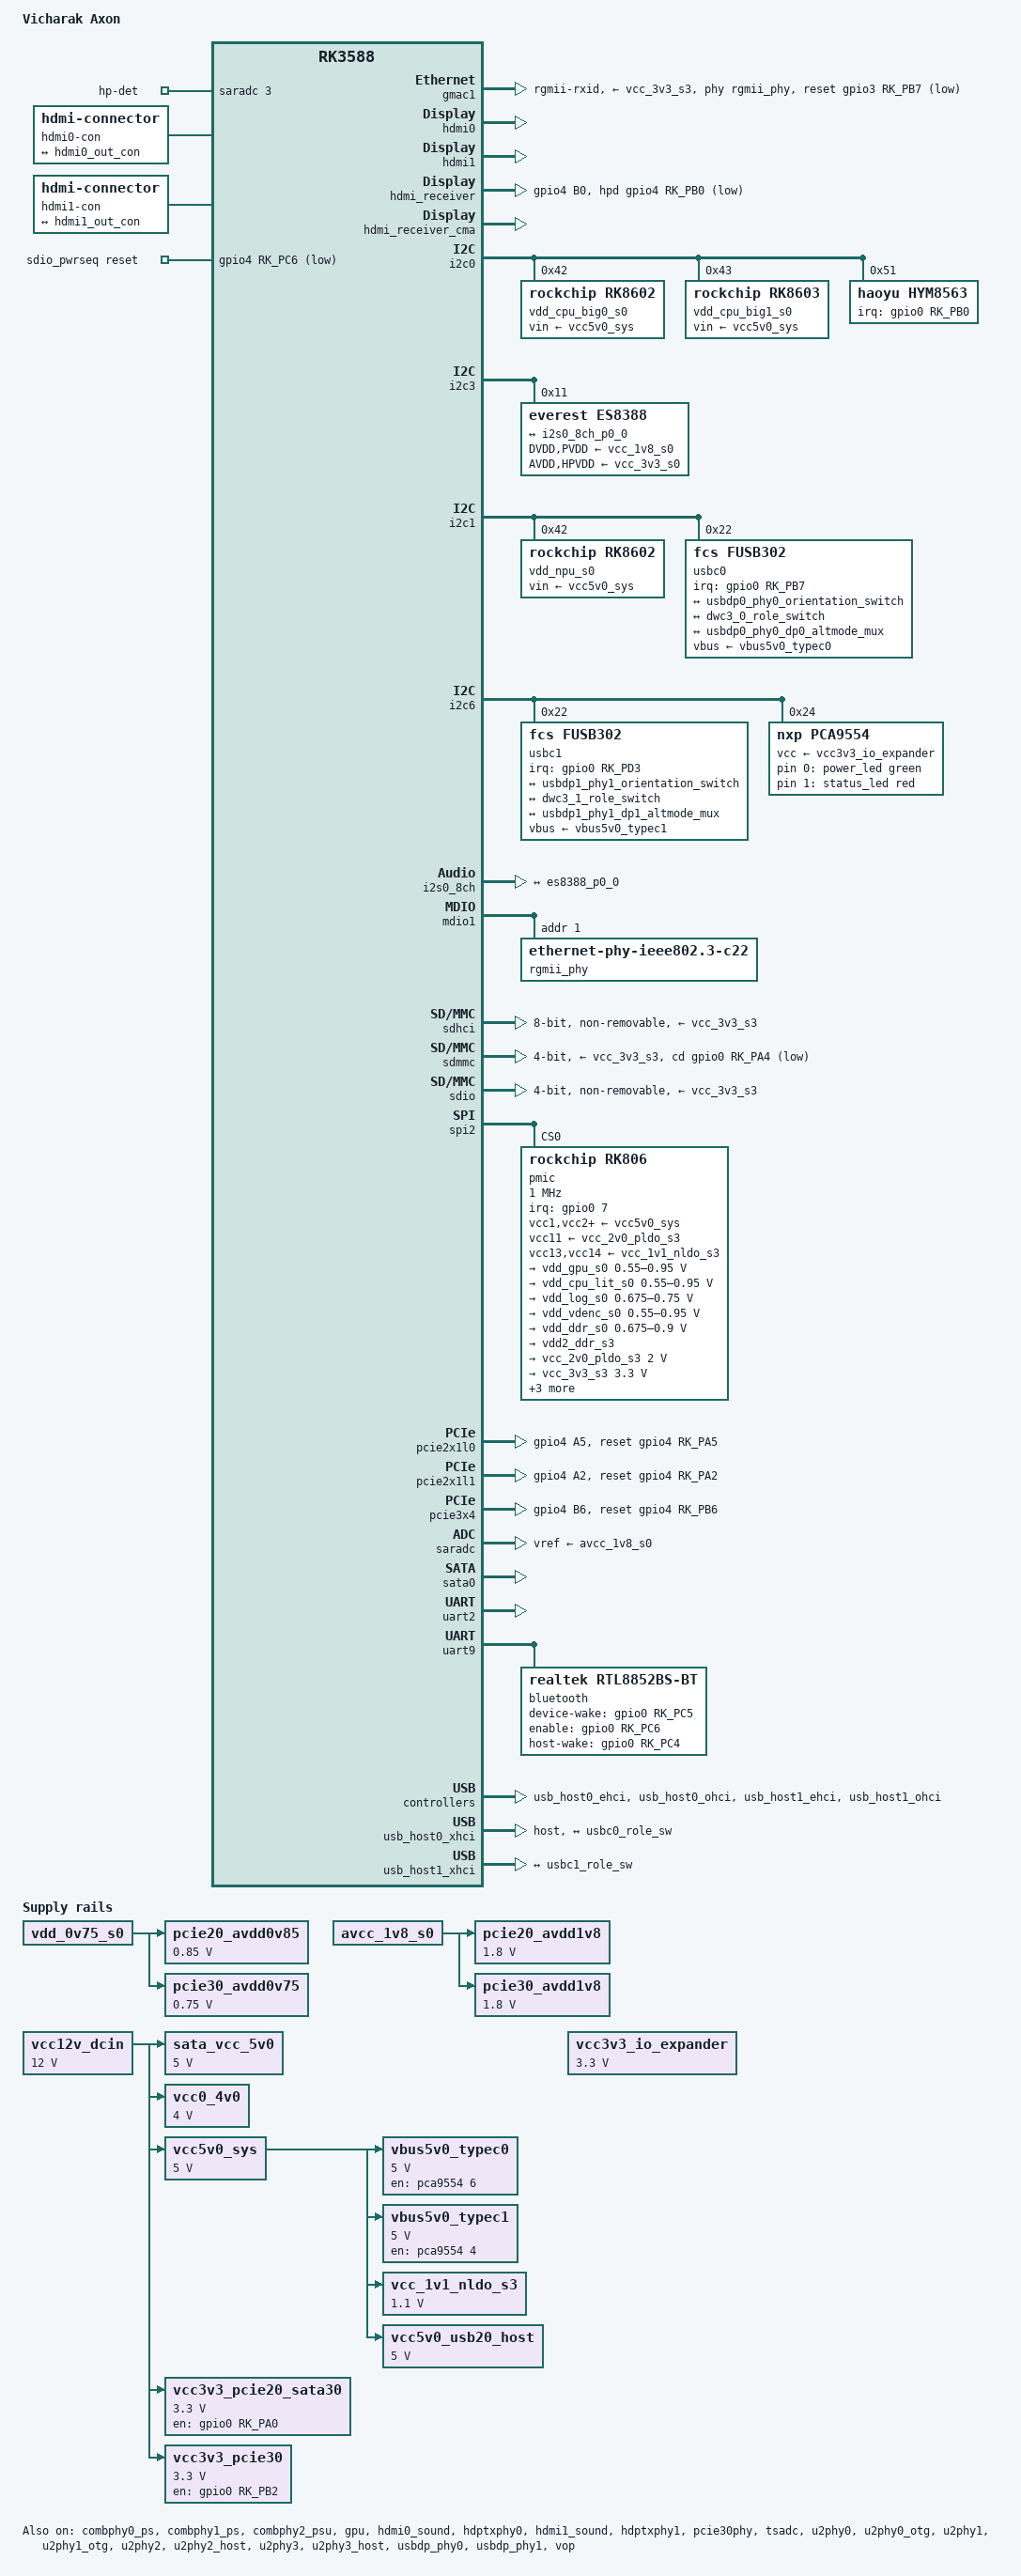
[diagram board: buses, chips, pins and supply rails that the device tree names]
// SPDX-License-Identifier: (GPL-2.0+ OR MIT)

/dts-v1/;

#include <dt-bindings/gpio/gpio.h>
#include <dt-bindings/leds/common.h>
#include <dt-bindings/soc/rockchip,vop2.h>
#include <dt-bindings/pinctrl/rockchip.h>
#include <dt-bindings/usb/pd.h>
#include <dt-bindings/input/linux-event-codes.h>
#include "rk3588.dtsi"

/ {
    model = "Vicharak Axon";
    compatible = "vicharak,axon", "rockchip,rk3588";

	aliases {
		mmc0 = &sdmmc;
		mmc1 = &sdhci;
		mmc2 = &sdio;
        serial2 = &uart2;
	};

	chosen {
		stdout-path = "serial2:1500000n8";
	};

    analog-sound {
        compatible = "audio-graph-card";
        label = "rk3588-es8388";

        widgets =
            "Microphone", "Main Mic",
            "Microphone", "Headset Mic",
            "Headphone", "Headphones",
            "Speaker", "Speaker";

        routing =
            "Headphones", "LOUT1",
            "Headphones", "ROUT1",
            "Speaker", "LOUT2",
            "Speaker", "ROUT2",
            "LINPUT1", "Main Mic",
            "LINPUT2", "Main Mic",
            "RINPUT1", "Headset Mic",
            "RINPUT2", "Headset Mic";

        /* HP jack detect via SARADC ch3, not a GPIO */
        io-channels = <&saradc 3>;
        io-channel-names = "hp-det";

        dais = <&i2s0_8ch_p0>;

        pinctrl-names = "default";
        pinctrl-0 = <&hp_detect>;
    };

	hdmi0-con {
		compatible = "hdmi-connector";
		type = "a";

		port {
			hdmi0_con_in: endpoint {
				remote-endpoint = <&hdmi0_out_con>;
			};
		};
	};

	hdmi1-con {
		compatible = "hdmi-connector";
		type = "a";

		port {
			hdmi1_con_in: endpoint {
				remote-endpoint = <&hdmi1_out_con>;
			};
		};
	};

	leds {
		compatible = "gpio-leds";
        status = "okay";

		power_led: power-led {
			color = <LED_COLOR_ID_GREEN>;
			function = LED_FUNCTION_STATUS;
            gpios = <&pca9554 0 GPIO_ACTIVE_HIGH>;
			linux,default-trigger = "heartbeat";
		};

		status_led: status-led {
			color = <LED_COLOR_ID_RED>;
			function = LED_FUNCTION_STATUS;
            gpios = <&pca9554 1 GPIO_ACTIVE_HIGH>;
			linux,default-trigger = "none";
		};
	};

    pcie20_avdd0v85: pcie20-avdd0v85-regulator {
		compatible = "regulator-fixed";
		regulator-name = "pcie20_avdd0v85";
		regulator-boot-on;
		regulator-always-on;
		regulator-min-microvolt = <850000>;
		regulator-max-microvolt = <850000>;
		vin-supply = <&vdd_0v75_s0>;
	};

	pcie20_avdd1v8: pcie20-avdd1v8-regulator {
		compatible = "regulator-fixed";
		regulator-name = "pcie20_avdd1v8";
		regulator-boot-on;
		regulator-always-on;
		regulator-min-microvolt = <1800000>;
		regulator-max-microvolt = <1800000>;
		vin-supply = <&avcc_1v8_s0>;
	};

	pcie30_avdd0v75: pcie30-avdd0v75-regulator {
		compatible = "regulator-fixed";
		regulator-name = "pcie30_avdd0v75";
		regulator-boot-on;
		regulator-always-on;
		regulator-min-microvolt = <750000>;
		regulator-max-microvolt = <750000>;
		vin-supply = <&vdd_0v75_s0>;
	};

	pcie30_avdd1v8: pcie30-avdd1v8-regulator {
		compatible = "regulator-fixed";
		regulator-name = "pcie30_avdd1v8";
		regulator-boot-on;
		regulator-always-on;
		regulator-min-microvolt = <1800000>;
		regulator-max-microvolt = <1800000>;
		vin-supply = <&avcc_1v8_s0>;
	};

	sata_vcc_5v0: sata-vcc-5v0 {
		compatible = "regulator-fixed";
		regulator-name = "sata_vcc_5v0";
		startup-delay-us = <5000>;
		regulator-boot-on;
		regulator-always-on;
		enable-active-high;
		regulator-min-microvolt = <5000000>;
		regulator-max-microvolt = <5000000>;
		vin-supply = <&vcc12v_dcin>;
	};

	sdio_pwrseq: sdio-pwrseq {
		compatible = "mmc-pwrseq-simple";
		clocks = <&hym8563>;
		clock-names = "ext_clock";
		pinctrl-names = "default";
		pinctrl-0 = <&sdio_reset_wifi>;
		reset-gpios = <&gpio4 RK_PC6 GPIO_ACTIVE_LOW>;
		status = "okay";
	};

    vbus5v0_typec0: vbus5v0-typec0-regulator {
		compatible = "regulator-fixed";
		regulator-name = "vbus5v0_typec0";
		regulator-boot-on;
		regulator-always-on;
		enable-active-high;
		gpio = <&pca9554 6 GPIO_ACTIVE_HIGH>;
        regulator-min-microvolt = <5000000>;
		regulator-max-microvolt = <5000000>;
		vin-supply = <&vcc5v0_sys>;
	};

    vbus5v0_typec1: vbus5v0-typec1-regulator {
		compatible = "regulator-fixed";
		regulator-name = "vbus5v0_typec1";
		regulator-boot-on;
		regulator-always-on;
		enable-active-high;
		gpio = <&pca9554 4 GPIO_ACTIVE_HIGH>; 
        regulator-min-microvolt = <5000000>;
		regulator-max-microvolt = <5000000>;
		vin-supply = <&vcc5v0_sys>;
	};

	vcc12v_dcin: vcc12v-dcin-regulator {
		compatible = "regulator-fixed";
		regulator-name = "vcc12v_dcin";
		regulator-always-on;
		regulator-boot-on;
		regulator-min-microvolt = <12000000>;
		regulator-max-microvolt = <12000000>;
	};

	vcc0_4v0: vcc4v0_sys: vcc0-4v0-regulator {
		compatible = "regulator-fixed";
		regulator-name = "vcc0_4v0";
		regulator-always-on;
		regulator-boot-on;
		regulator-min-microvolt = <4000000>;
		regulator-max-microvolt = <4000000>;
		vin-supply = <&vcc12v_dcin>;
	};

	vcc5v0_sys: vcc1-5v0-regulator {
		compatible = "regulator-fixed";
		regulator-name = "vcc5v0_sys";
		regulator-always-on;
		regulator-boot-on;
		regulator-min-microvolt = <5000000>;
		regulator-max-microvolt = <5000000>;
		vin-supply = <&vcc12v_dcin>;
	};

	vcc_1v1_nldo_s3: vcc-1v1-nldo-s3-regulator {
		compatible = "regulator-fixed";
		regulator-name = "vcc_1v1_nldo_s3";
		regulator-always-on;
		regulator-boot-on;
		regulator-min-microvolt = <1100000>;
		regulator-max-microvolt = <1100000>;
		vin-supply = <&vcc5v0_sys>;
	};

	vcc3v3_io_expander: vcc3v3-io-expander {
		compatible = "regulator-fixed";
		regulator-name = "vcc3v3_io_expander";
		regulator-boot-on;
		regulator-always-on;
		enable-active-high;
		regulator-min-microvolt = <3300000>;
		regulator-max-microvolt = <3300000>;
	};

    vcc3v3_pcie20_sata30: vcc3v3-pcie20-sata30 {
		compatible = "regulator-fixed";
		regulator-name = "vcc3v3_pcie20_sata30";
		regulator-boot-on;
		regulator-always-on;
		enable-active-high;
		gpios = <&gpio0 RK_PA0 GPIO_ACTIVE_HIGH>;
		regulator-max-microvolt = <3300000>;
		regulator-min-microvolt = <3300000>;
		vin-supply = <&vcc12v_dcin>;
	};

	vcc3v3_pcie30: vcc3v3-pcie30 {
		compatible = "regulator-fixed";
		regulator-name = "vcc3v3_pcie30";
		regulator-boot-on;
		regulator-always-on;
		enable-active-high;
		gpios = <&gpio0 RK_PB2 GPIO_ACTIVE_HIGH>;
		regulator-min-microvolt = <3300000>;
		regulator-max-microvolt = <3300000>;
		vin-supply = <&vcc12v_dcin>;
	};

    vcc5v0_usb20_host: vcc5v0-usb20-host-regulator {
		compatible = "regulator-fixed";
		regulator-name = "vcc5v0_usb20_host";
		regulator-boot-on;
		regulator-always-on;
		enable-active-high;
		regulator-min-microvolt = <5000000>;
		regulator-max-microvolt = <5000000>;
		vin-supply = <&vcc5v0_sys>;
	};

};


&combphy0_ps {
	status = "okay";
};

&combphy1_ps {
	status = "okay";
};

&combphy2_psu {
	status = "okay";
};

&cpu_b0 {
	cpu-supply = <&vdd_cpu_big0_s0>;
	mem-supply = <&vdd_cpu_big0_mem_s0>;
};

&cpu_b1 {
	cpu-supply = <&vdd_cpu_big0_s0>;
	mem-supply = <&vdd_cpu_big0_mem_s0>;
};

&cpu_b2 {
	cpu-supply = <&vdd_cpu_big1_s0>;
	mem-supply = <&vdd_cpu_big1_mem_s0>;
};

&cpu_b3 {
	cpu-supply = <&vdd_cpu_big1_s0>;
	mem-supply = <&vdd_cpu_big1_mem_s0>;
};

&cpu_l0 {
	cpu-supply = <&vdd_cpu_lit_s0>;
	mem-supply = <&vdd_cpu_lit_mem_s0>;
};

&cpu_l1 {
	cpu-supply = <&vdd_cpu_lit_s0>;
	mem-supply = <&vdd_cpu_lit_mem_s0>;
};

&cpu_l2 {
	cpu-supply = <&vdd_cpu_lit_s0>;
	mem-supply = <&vdd_cpu_lit_mem_s0>;
};

&cpu_l3 {
	cpu-supply = <&vdd_cpu_lit_s0>;
	mem-supply = <&vdd_cpu_lit_mem_s0>;
};

&gmac1 {
	clock_in_out = "output";
	phy-handle = <&rgmii_phy>;
	phy-mode = "rgmii-rxid";
	phy-supply = <&vcc_3v3_s3>;
	pinctrl-0 = <&gmac1_rgmii_bus
				&gmac1_rgmii_clk
				&gmac1_rx_bus2
				&gmac1_tx_bus2
				&gmac1_miim>;
	pinctrl-names = "default";
	snps,reset-active-low;
	snps,reset-delays-us = <0 20000 100000>;
	snps,reset-gpio = <&gpio3 RK_PB7 GPIO_ACTIVE_LOW>;
	rx_delay = <0x00>;
	tx_delay = <0x43>;
	status = "okay";
};

&gpu {
	mali-supply = <&vdd_gpu_s0>;
	status = "okay";
};

&hdmi0 {
    enable-gpios = <&gpio1 RK_PB0 GPIO_ACTIVE_HIGH>;
	status = "okay";
};

&hdmi0_in {
	hdmi0_in_vp0: endpoint {
		remote-endpoint = <&vp0_out_hdmi0>;
	};
};

&hdmi0_out {
	hdmi0_out_con: endpoint {
		remote-endpoint = <&hdmi0_con_in>;
	};
};

&hdmi0_sound {
	status = "okay";
};

&hdptxphy0 {
	status = "okay";
};

&hdmi1 {
    enable-gpios = <&gpio1 RK_PA7 GPIO_ACTIVE_HIGH>;
	status = "okay";
};

&hdmi1_in {
	hdmi1_in_vp1: endpoint {
		remote-endpoint = <&vp1_out_hdmi1>;
	};
};

&hdmi1_out {
	hdmi1_out_con: endpoint {
		remote-endpoint = <&hdmi1_con_in>;
	};
};

&hdmi1_sound {
	status = "okay";
};

&hdptxphy1 {
	status = "okay";
};

&hdmi_receiver {
    pinctrl-0 = <&hdmim1_rx_cec &hdmim1_rx_hpdin &hdmim1_rx_scl &hdmim1_rx_sda &hdmirx_hpd>;
	pinctrl-names = "default";
	hpd-gpios = <&gpio4 RK_PB0 GPIO_ACTIVE_LOW>;
	status = "okay";
};

&hdmi_receiver_cma {
	status = "okay";
};

&i2c0 {
	pinctrl-0 = <&i2c0m2_xfer>;
	pinctrl-names = "default";
	status = "okay";

	vdd_cpu_big0_s0: vdd_cpu_big0_mem_s0: regulator@42 {
		compatible = "rockchip,rk8602";
		fcs,suspend-voltage-selector = <1>;
		reg = <0x42>;
		regulator-always-on;
		regulator-boot-on;
		regulator-compatible = "rk860x-reg";
		regulator-max-microvolt = <1050000>;
		regulator-min-microvolt = <550000>;
		regulator-name = "vdd_cpu_big0_s0";
		regulator-ramp-delay = <2300>;
		vin-supply = <&vcc5v0_sys>;

		regulator-state-mem {
			regulator-off-in-suspend;
		};
	};

	vdd_cpu_big1_s0: vdd_cpu_big1_mem_s0: regulator@43 {
		compatible = "rockchip,rk8603", "rockchip,rk8602";
		fcs,suspend-voltage-selector = <1>;
		reg = <0x43>;
		regulator-always-on;
		regulator-boot-on;
		regulator-compatible = "rk860x-reg";
		regulator-max-microvolt = <1050000>;
		regulator-min-microvolt = <550000>;
		regulator-name = "vdd_cpu_big1_s0";
		regulator-ramp-delay = <2300>;
		vin-supply = <&vcc5v0_sys>;

		regulator-state-mem {
			regulator-off-in-suspend;
		};
	};

	hym8563: rtc@51 {
		compatible = "haoyu,hym8563";
		reg = <0x51>;
		#clock-cells = <0>;
		clock-output-names = "hym8563";
		interrupt-parent = <&gpio0>;
		interrupts = <RK_PB0 IRQ_TYPE_LEVEL_LOW>;
		pinctrl-names = "default";
		pinctrl-0 = <&rtc_int>;
		wakeup-source;
		status = "okay";
	};
};

&i2c3 {
    pinctrl-names = "default";
    pinctrl-0 = <&i2c3m0_xfer>;   
    status = "okay";

    es8388: audio-codec@11 {
        compatible = "everest,es8388";
        reg = <0x11>;
        clocks = <&cru I2S0_8CH_MCLKOUT>;
        clock-names = "mclk";
        assigned-clocks = <&cru I2S0_8CH_MCLKOUT>;
        assigned-clock-rates = <12288000>;
        DVDD-supply = <&vcc_1v8_s0>;
		AVDD-supply = <&vcc_3v3_s0>;
		PVDD-supply = <&vcc_1v8_s0>;
		HPVDD-supply = <&vcc_3v3_s0>;
        #sound-dai-cells = <0>;

        port {
            es8388_p0_0: endpoint {
                remote-endpoint = <&i2s0_8ch_p0_0>;  /* i2s0_8ch_p0_0 is the ENDPOINT */
            };
        };
    };
};

&i2c1 {
   	pinctrl-names = "default";
	pinctrl-0 = <&i2c1m2_xfer>;
	status = "okay";

    vdd_npu_s0: regulator@42 {
		compatible = "rockchip,rk8602";
		reg = <0x42>;
		fcs,suspend-voltage-selector = <1>;
		regulator-name = "vdd_npu_s0";
		regulator-boot-on;
		regulator-enable-ramp-delay = <500>;
		regulator-min-microvolt = <550000>;
		regulator-max-microvolt = <950000>;
		regulator-ramp-delay = <2300>;
		vin-supply = <&vcc5v0_sys>;

		regulator-state-mem {
			regulator-off-in-suspend;
		 };
	};

    usbc0: usb-typec@22 {
        compatible = "fcs,fusb302";
        reg = <0x22>;
        interrupt-parent = <&gpio0>;
        interrupts = <RK_PB7 IRQ_TYPE_LEVEL_LOW>;
        pinctrl-names = "default";
        pinctrl-0 = <&usbc0_int>;
        vbus-supply = <&vbus5v0_typec0>;
        status = "okay";

        usb_con0: connector {
            compatible = "usb-c-connector";
            label = "USB-C0";
            data-role = "dual";
            power-role = "dual";
            try-power-role = "sink";
            op-sink-microwatt = <1000000>;
            sink-pdos =
                <PDO_FIXED(5000, 3000, PDO_FIXED_USB_COMM)>;
            source-pdos =
                <PDO_FIXED(5000, 3000, PDO_FIXED_USB_COMM)>;

			altmodes {
				displayport {
					svid = /bits/ 16 <0xff01>;
					vdo = <0xffffffff>;
				};
			};

            ports {
                #address-cells = <1>;
                #size-cells = <0>;

                port@0 {
                    reg = <0>;
                    usbc0_orien_sw: endpoint {
                        remote-endpoint = <&usbdp0_phy0_orientation_switch>;
                    };
                };

                port@1 {
                    reg = <1>;
                    usbc0_role_sw: endpoint {
                        remote-endpoint = <&dwc3_0_role_switch>;
                    };
                };

                port@2 {
                    reg = <2>;
                    dp0_altmode_mux: endpoint {
                        remote-endpoint = <&usbdp0_phy0_dp0_altmode_mux>;
                    };
                };
            };
        };
    };


};


&i2c6 {
    pinctrl-names = "default";
	pinctrl-0 = <&i2c6m0_xfer>;
    status = "okay";

    usbc1: fusb302@22 {
		compatible = "fcs,fusb302";
		reg = <0x22>;
		interrupt-parent = <&gpio0>;
		interrupts = <RK_PD3 IRQ_TYPE_LEVEL_LOW>;
		pinctrl-names = "default";
		pinctrl-0 = <&usbc1_int>;
		vbus-supply = <&vbus5v0_typec1>;
		status = "okay";

		usb_con1: connector {
			compatible = "usb-c-connector";
			label = "USB-C1";
			data-role = "dual";
			power-role = "dual";
			try-power-role = "sink";
			op-sink-microwatt = <1000000>;
			sink-pdos =
				<PDO_FIXED(5000, 1000, PDO_FIXED_USB_COMM)>;
			source-pdos =
				<PDO_FIXED(5000, 3000, PDO_FIXED_USB_COMM)>;

			altmodes {
				displayport {
					svid = /bits/ 16 <0xff01>;
					vdo = <0xffffffff>;
				};
			};

			ports {
				#address-cells = <1>;
				#size-cells = <0>;

				port@0 {
					reg = <0>;
					usbc1_orien_sw: endpoint {
						remote-endpoint = <&usbdp1_phy1_orientation_switch>;
					};
				};

				port@1 {
					reg = <1>;
					usbc1_role_sw: endpoint {
						remote-endpoint = <&dwc3_1_role_switch>;
					};
				};

				port@2 {
					reg = <2>;
					dp1_altmode_mux: endpoint {
						remote-endpoint = <&usbdp1_phy1_dp1_altmode_mux>;
					};
				};
			};
		};
	};

    pca9554: gpio@24 {
		compatible = "nxp,pca9554";
		#gpio-cells = <2>;
		gpio-controller;
		reg = <0x24>;
		vcc-supply = <&vcc3v3_io_expander>;
		status = "okay";
	};
};

&i2s0_8ch {
    pinctrl-names = "default";
    pinctrl-0 = <&i2s0_lrck
                 &i2s0_mclk
                 &i2s0_sclk
                 &i2s0_sdi0
                 &i2s0_sdo0>;
    status = "okay";

    i2s0_8ch_p0: port {
        i2s0_8ch_p0_0: endpoint {
            dai-format = "i2s";
            mclk-fs = <256>;
            remote-endpoint = <&es8388_p0_0>;
        };
    };
};

&mdio1 {
	rgmii_phy: phy@1 {
		compatible = "ethernet-phy-ieee802.3-c22";
		reg = <0x1>;
	};
};

&sdhci {
	bus-width = <8>;
	full-pwr-cycle-in-suspend;
	mmc-hs400-1_8v;
	mmc-hs400-enhanced-strobe;
	no-sd;
	no-sdio;
	non-removable;
	vmmc-supply = <&vcc_3v3_s3>;
	vqmmc-supply = <&vcc_1v8_s3>;
	status = "okay";
};

&sdmmc {
	bus-width = <4>;
	cap-mmc-highspeed;
	cap-sd-highspeed;
	cd-gpios = <&gpio0 RK_PA4 GPIO_ACTIVE_LOW>;
	disable-wp;
	max-frequency = <200000000>;
	no-mmc;
	no-sdio;
	sd-uhs-sdr104;
	vmmc-supply = <&vcc_3v3_s3>;
	vqmmc-supply = <&vccio_sd_s0>;
	status = "okay";
};

&sdio {
	max-frequency = <150000000>;
	no-sd;
	no-mmc;
	bus-width = <4>;
	disable-wp;
	cap-sd-highspeed;
	cap-sdio-irq;
	keep-power-in-suspend;
	mmc-pwrseq = <&sdio_pwrseq>;
	non-removable;
	pinctrl-names = "default";
	pinctrl-0 = <&sdiom0_pins>;
	vmmc-supply = <&vcc_3v3_s3>;
	vqmmc-supply = <&vcc_1v8_s3>;
	status = "okay";
};

&spi2 {
	assigned-clock-rates = <200000000>;
	assigned-clocks = <&cru CLK_SPI2>;
	num-cs = <1>;
	pinctrl-0 = <&spi2m2_cs0 &spi2m2_pins>;
	pinctrl-names = "default";
	status = "okay";
	#address-cells = <1>;
	#size-cells = <0>;

	pmic@0 {
		reg = <0>;
		compatible = "rockchip,rk806";
		#gpio-cells = <2>;
		gpio-controller;
		interrupt-parent = <&gpio0>;
		interrupts = <7 IRQ_TYPE_LEVEL_LOW>;
		pinctrl-names = "default", "pmic-power-off";
		pinctrl-0 = <&pmic_pins>, <&rk806_dvs1_null>,
					<&rk806_dvs2_null>, <&rk806_dvs3_null>;
		pinctrl-1 = <&rk806_dvs1_pwrdn>;
		spi-max-frequency = <1000000>;

		vcc1-supply = <&vcc5v0_sys>;
		vcc2-supply = <&vcc5v0_sys>;
		vcc3-supply = <&vcc5v0_sys>;
		vcc4-supply = <&vcc5v0_sys>;
		vcc5-supply = <&vcc5v0_sys>;
		vcc6-supply = <&vcc5v0_sys>;
		vcc7-supply = <&vcc5v0_sys>;
		vcc8-supply = <&vcc5v0_sys>;
		vcc9-supply = <&vcc5v0_sys>;
		vcc10-supply = <&vcc5v0_sys>;
		vcc11-supply = <&vcc_2v0_pldo_s3>;
		vcc12-supply = <&vcc5v0_sys>;
		vcc13-supply = <&vcc_1v1_nldo_s3>;
		vcc14-supply = <&vcc_1v1_nldo_s3>;
		vcca-supply = <&vcc5v0_sys>;

		rk806_dvs1_null: rk806_dvs1_null {
			pins = "gpio_pwrctrl2";
			function = "pin_fun0";
		};

		rk806_dvs1_slp: rk806_dvs1_slp {
			pins = "gpio_pwrctrl1";
			function = "pin_fun1";
		};

		rk806_dvs1_pwrdn: rk806_dvs1_pwrdn {
			pins = "gpio_pwrctrl1";
			function = "pin_fun2";
		};

		rk806_dvs1_rst: rk806_dvs1_rst {
			pins = "gpio_pwrctrl1";
			function = "pin_fun3";
		};

		rk806_dvs2_null: rk806_dvs2_null {
			pins = "gpio_pwrctrl2";
			function = "pin_fun0";
		};

		rk806_dvs2_slp: rk806_dvs2_slp {
			pins = "gpio_pwrctrl2";
			function = "pin_fun1";
		};

		rk806_dvs2_pwrdn: rk806_dvs2_pwrdn {
			pins = "gpio_pwrctrl2";
			function = "pin_fun2";
		};

		rk806_dvs2_rst: rk806_dvs2_rst {
			pins = "gpio_pwrctrl2";
			function = "pin_fun3";
		};

		rk806_dvs2_dvs: rk806_dvs2_dvs {
			pins = "gpio_pwrctrl2";
			function = "pin_fun4";
		};

		rk806_dvs2_gpio: rk806_dvs2_gpio {
			pins = "gpio_pwrctrl2";
			function = "pin_fun5";
		};

		rk806_dvs3_null: rk806_dvs3_null {
			pins = "gpio_pwrctrl3";
			function = "pin_fun0";
		};

		rk806_dvs3_slp: rk806_dvs3_slp {
			pins = "gpio_pwrctrl3";
			function = "pin_fun1";
		};

		rk806_dvs3_pwrdn: rk806_dvs3_pwrdn {
			pins = "gpio_pwrctrl3";
			function = "pin_fun2";
		};

		rk806_dvs3_rst: rk806_dvs3_rst {
			pins = "gpio_pwrctrl3";
			function = "pin_fun3";
		};

		rk806_dvs3_dvs: rk806_dvs3_dvs {
			pins = "gpio_pwrctrl3";
			function = "pin_fun4";
		};

		rk806_dvs3_gpio: rk806_dvs3_gpio {
			pins = "gpio_pwrctrl3";
			function = "pin_fun5";
		};

		regulators {
			vdd_gpu_s0: dcdc-reg1 {
				regulator-boot-on;
				regulator-min-microvolt = <550000>;
				regulator-max-microvolt = <950000>;
				regulator-ramp-delay = <12500>;
				regulator-name = "vdd_gpu_s0";
				regulator-enable-ramp-delay = <400>;

				regulator-state-mem {
					regulator-off-in-suspend;
				};
			};

			vdd_cpu_lit_s0: vdd_cpu_lit_mem_s0: dcdc-reg2 {
				regulator-always-on;
				regulator-boot-on;
				regulator-min-microvolt = <550000>;
				regulator-max-microvolt = <950000>;
				regulator-ramp-delay = <12500>;
				regulator-name = "vdd_cpu_lit_s0";

				regulator-state-mem {
					regulator-off-in-suspend;
				};
			};

			vdd_log_s0: dcdc-reg3 {
				regulator-always-on;
				regulator-boot-on;
				regulator-min-microvolt = <675000>;
				regulator-max-microvolt = <750000>;
				regulator-ramp-delay = <12500>;
				regulator-name = "vdd_log_s0";

				regulator-state-mem {
					regulator-off-in-suspend;
					regulator-suspend-microvolt = <750000>;
				};
			};

			vdd_vdenc_s0: dcdc-reg4 {
				regulator-always-on;
				regulator-boot-on;
				regulator-min-microvolt = <550000>;
				regulator-max-microvolt = <950000>;
				regulator-init-microvolt = <750000>;
				regulator-ramp-delay = <12500>;
				regulator-name = "vdd_vdenc_s0";

				regulator-state-mem {
					regulator-off-in-suspend;
				};
			};

			vdd_ddr_s0: dcdc-reg5 {
				regulator-always-on;
				regulator-boot-on;
				regulator-min-microvolt = <675000>;
				regulator-max-microvolt = <900000>;
				regulator-ramp-delay = <12500>;
				regulator-name = "vdd_ddr_s0";

				regulator-state-mem {
					regulator-off-in-suspend;
					regulator-suspend-microvolt = <850000>;
				};
			};

			vdd2_ddr_s3: dcdc-reg6 {
				regulator-always-on;
				regulator-boot-on;
				regulator-name = "vdd2_ddr_s3";

				regulator-state-mem {
					regulator-on-in-suspend;
				};
			};

			vcc_2v0_pldo_s3: dcdc-reg7 {
				regulator-always-on;
				regulator-boot-on;
				regulator-min-microvolt = <2000000>;
				regulator-max-microvolt = <2000000>;
				regulator-name = "vdd_2v0_pldo_s3";

				regulator-state-mem {
					regulator-on-in-suspend;
					regulator-suspend-microvolt = <2000000>;
				};
			};

			vcc_3v3_s3: dcdc-reg8 {
				regulator-always-on;
				regulator-boot-on;
				regulator-min-microvolt = <3300000>;
				regulator-max-microvolt = <3300000>;
				regulator-name = "vcc_3v3_s3";

				regulator-state-mem {
					regulator-on-in-suspend;
					regulator-suspend-microvolt = <3300000>;
				};
			};

			vddq_ddr_s0: dcdc-reg9 {
				regulator-always-on;
				regulator-boot-on;
				regulator-name = "vddq_ddr_s0";

				regulator-state-mem {
					regulator-off-in-suspend;
				};
			};

			vcc_1v8_s3: dcdc-reg10 {
				regulator-always-on;
				regulator-boot-on;
				regulator-min-microvolt = <1800000>;
				regulator-max-microvolt = <1800000>;
				regulator-name = "vcc_1v8_s3";

				regulator-state-mem {
					regulator-on-in-suspend;
					regulator-suspend-microvolt = <1800000>;
				};
			};

			avcc_1v8_s0: pldo-reg1 {
				regulator-always-on;
				regulator-boot-on;
				regulator-min-microvolt = <1800000>;
				regulator-max-microvolt = <1800000>;
				regulator-name = "avcc_1v8_s0";

				regulator-state-mem {
					regulator-off-in-suspend;
				};
			};

			vcc_1v8_s0: pldo-reg2 {
				regulator-always-on;
				regulator-boot-on;
				regulator-min-microvolt = <1800000>;
				regulator-max-microvolt = <1800000>;
				regulator-name = "vcc_1v8_s0";

				regulator-state-mem {
					regulator-off-in-suspend;
					regulator-suspend-microvolt = <1800000>;
				};
			};

			avdd_1v2_s0: pldo-reg3 {
				regulator-always-on;
				regulator-boot-on;
				regulator-min-microvolt = <1200000>;
				regulator-max-microvolt = <1200000>;
				regulator-name = "avdd_1v2_s0";

				regulator-state-mem {
					regulator-off-in-suspend;
				};
			};

			vcc_3v3_s0: pldo-reg4 {
				regulator-always-on;
				regulator-boot-on;
				regulator-min-microvolt = <3300000>;
				regulator-max-microvolt = <3300000>;
				regulator-name = "vcc_3v3_s0";

				regulator-state-mem {
					regulator-off-in-suspend;
				};
			};

			vccio_sd_s0: pldo-reg5 {
				regulator-always-on;
				regulator-boot-on;
				regulator-min-microvolt = <1800000>;
				regulator-max-microvolt = <3300000>;
				regulator-name = "vccio_sd_s0";

				regulator-state-mem {
					regulator-off-in-suspend;
				};
			};

			pldo6_s3: pldo-reg6 {
				regulator-always-on;
				regulator-boot-on;
				regulator-min-microvolt = <1800000>;
				regulator-max-microvolt = <1800000>;
				regulator-name = "pldo6_s3";

				regulator-state-mem {
					regulator-on-in-suspend;
					regulator-suspend-microvolt = <1800000>;
				};
			};

			vdd_0v75_s3: nldo-reg1 {
				regulator-always-on;
				regulator-boot-on;
				regulator-min-microvolt = <750000>;
				regulator-max-microvolt = <750000>;
				regulator-name = "vdd_0v75_s3";

				regulator-state-mem {
					regulator-on-in-suspend;
					regulator-suspend-microvolt = <750000>;
				};
			};

			vdd_ddr_pll_s0: nldo-reg2 {
				regulator-always-on;
				regulator-boot-on;
				regulator-min-microvolt = <850000>;
				regulator-max-microvolt = <850000>;
				regulator-name = "vdd_ddr_pll_s0";

				regulator-state-mem {
					regulator-off-in-suspend;
					regulator-suspend-microvolt = <850000>;
				};
			};

			avdd_0v75_s0: nldo-reg3 {
				regulator-always-on;
				regulator-boot-on;
				regulator-min-microvolt = <837500>;
				regulator-max-microvolt = <837500>;
				regulator-name = "avdd_0v75_s0";

				regulator-state-mem {
					regulator-off-in-suspend;
				};
			};

			vdd_0v85_s0: nldo-reg4 {
				regulator-always-on;
				regulator-boot-on;
				regulator-min-microvolt = <850000>;
				regulator-max-microvolt = <850000>;
				regulator-name = "vdd_0v85_s0";

				regulator-state-mem {
					regulator-off-in-suspend;
				};
			};

			vdd_0v75_s0: nldo-reg5 {
				regulator-always-on;
				regulator-boot-on;
				regulator-min-microvolt = <750000>;
				regulator-max-microvolt = <750000>;
				regulator-name = "vdd_0v75_s0";

				regulator-state-mem {
					regulator-off-in-suspend;
				};
			};
		};
	};
};

&pcie2x1l0 {
	reset-gpios = <&gpio4 RK_PA5 GPIO_ACTIVE_HIGH>;
	pinctrl-names = "default";
	pinctrl-0 = <&pcie2_0_rst>;
	status = "okay";
};

&pcie2x1l1 {
	reset-gpios = <&gpio4 RK_PA2 GPIO_ACTIVE_HIGH>;
	pinctrl-names = "default";
	pinctrl-0 = <&pcie2_1_rst>;
	status = "okay";
};

&pcie2x1l2 {
	status = "disabled";
};

&pcie30phy {
	status = "okay";
};

&pcie3x4 {
	pinctrl-names = "default";
	pinctrl-0 = <&pcie3_reset>;
	reset-gpios = <&gpio4 RK_PB6 GPIO_ACTIVE_HIGH>;
	status = "okay";
};

&pinctrl {

	bluetooth-gpios {
		bt_reset_gpio: bt-reset-gpio {
			rockchip,pins =
				<0 RK_PC6 RK_FUNC_GPIO &pcfg_pull_none>;
		};

		bt_wake_gpio: bt-wake-gpio {
			rockchip,pins =
				<0 RK_PC5 RK_FUNC_GPIO &pcfg_pull_none>;
		};

		bt_wake_host_gpio: bt-wake-host-gpio {
			rockchip,pins =
				<0 RK_PC4 RK_FUNC_GPIO &pcfg_pull_none>;
		};
	};

    hdmirx {
		hdmirx_hpd: hdmirx-5v-detection {
			rockchip,pins = <4 RK_PB0 RK_FUNC_GPIO &pcfg_pull_none>;
		};
	};


	hym8563 {
		rtc_int: rtc-int {
			rockchip,pins =
				<0 RK_PB0 RK_FUNC_GPIO &pcfg_pull_none>;
		};
	};

	pcie2 {
		pcie2_0_rst: pcie2-0-rst {
			rockchip,pins =
				<4 RK_PA5 RK_FUNC_GPIO &pcfg_pull_none>;
		};

		pcie2_1_rst: pcie2-1-rst {
			rockchip,pins =
				<4 RK_PA2 RK_FUNC_GPIO &pcfg_pull_none>;
		};
	};

	pcie3 {
		pcie3_reset: pcie3-reset {
			rockchip,pins =
				<4 RK_PB6 RK_FUNC_GPIO &pcfg_pull_none>;
		};
	};

	sound {
		hp_detect: hp-detect {
			rockchip,pins = <1 RK_PC4 RK_FUNC_GPIO &pcfg_pull_none>;
		};
	};

	usb-typec {
		usbc0_sbu_dc: usbc0-sbu-dc {
			rockchip,pins = <4 RK_PA6 RK_FUNC_GPIO &pcfg_pull_none>,
					<4 RK_PA7 RK_FUNC_GPIO &pcfg_pull_none>;
		};

		usbc1_sbu_dc: usbc1-sbu-dc {
			rockchip,pins = <4 RK_PB1 RK_FUNC_GPIO &pcfg_pull_none>,
					<4 RK_PB3 RK_FUNC_GPIO &pcfg_pull_none>;
		};

		usbc0_int: usbc0-int {
			rockchip,pins =
				<0 RK_PB7 RK_FUNC_GPIO &pcfg_pull_up>;
		};

		usbc1_int: usbc1-int {
			rockchip,pins =
				<0 RK_PD3 RK_FUNC_GPIO &pcfg_pull_none>;
		};
	};

	wireless-wlan {
		sdio_reset_wifi: sdio-reset-wifi {
			rockchip,pins =
				<4 RK_PC6 RK_FUNC_GPIO &pcfg_pull_none>;
		};
	};

};

&saradc {
	vref-supply = <&avcc_1v8_s0>;
	status = "okay";
};

&sata0 {
	status = "okay";
};

&tsadc {
	status = "okay";
};

&u2phy0 {
	status = "okay";
};

&u2phy0_otg {
	status = "okay";
};

&u2phy1 {
	status = "okay";
};

&u2phy1_otg {
	status = "okay";
};

&u2phy2 {
	status = "okay";
};

&u2phy2_host {
	phy-supply = <&vcc5v0_usb20_host>;
	status = "okay";
};

&u2phy3 {
	status = "okay";
};

&u2phy3_host {
	phy-supply = <&vcc5v0_usb20_host>;
	status = "okay";
};

&uart2 {
    pinctrl-names = "default";
	pinctrl-0 = <&uart2m0_xfer>;
	status = "okay";
};

&uart9 {
	pinctrl-names = "default";
	pinctrl-0 = <&uart9m0_xfer>, <&uart9m0_ctsn>, <&uart9m0_rtsn>;
	uart-has-rtscts;
	status = "okay";

	bluetooth {
		compatible = "realtek,rtl8852bs-bt",
			     "realtek,rtl8723bs-bt";
		pinctrl-names = "default";
		pinctrl-0 = <&bt_reset_gpio>, <&bt_wake_gpio>, <&bt_wake_host_gpio>;
		device-wake-gpios = <&gpio0 RK_PC5 GPIO_ACTIVE_HIGH>;
		enable-gpios = <&gpio0 RK_PC6 GPIO_ACTIVE_HIGH>;
		host-wake-gpios = <&gpio0 RK_PC4 GPIO_ACTIVE_HIGH>;
	};
};

&usb_host0_ehci {
	status = "okay";
};

&usb_host0_ohci {
	status = "okay";
};

&usb_host1_ehci {
	status = "okay";
};

&usb_host1_ohci {
	status = "okay";
};

&usb_host0_xhci {
    dr_mode = "host";
    usb-role-switch;
    status = "okay";

    port {
        #address-cells = <1>;
        #size-cells = <0>;

        dwc3_0_role_switch: endpoint@0 {
            reg = <0>;
            remote-endpoint = <&usbc0_role_sw>;
        };
    };
};

&usb_host1_xhci {
	usb-role-switch;
	status = "okay";

	port {
		#address-cells = <1>;
		#size-cells = <0>;

		dwc3_1_role_switch: endpoint@0 {
			reg = <0>;
			remote-endpoint = <&usbc1_role_sw>;
		};
	};
};

&usbdp_phy0 {
    orientation-switch;
    mode-switch;
	pinctrl-names = "default";
	pinctrl-0 = <&usbc0_sbu_dc>;
    sbu1-dc-gpios = <&gpio4 RK_PA6 GPIO_ACTIVE_HIGH>;
    sbu2-dc-gpios = <&gpio4 RK_PA7 GPIO_ACTIVE_HIGH>;
    status = "okay";

    port {
        #address-cells = <1>;
        #size-cells = <0>;

        usbdp0_phy0_orientation_switch: endpoint@0 {
            reg = <0>;
            remote-endpoint = <&usbc0_orien_sw>;
        };

        usbdp0_phy0_dp0_altmode_mux: endpoint@1 {
            reg = <1>;
            remote-endpoint = <&dp0_altmode_mux>;
        };
    };
};

&usbdp_phy1 {
	orientation-switch;
	mode-switch;
	pinctrl-names = "default";
	pinctrl-0 = <&usbc1_sbu_dc>;

	sbu1-dc-gpios = <&gpio4 RK_PB1 GPIO_ACTIVE_HIGH>;
	sbu2-dc-gpios = <&gpio4 RK_PB3 GPIO_ACTIVE_HIGH>;
	status = "okay";

	port {
		#address-cells = <1>;
		#size-cells = <0>;

		usbdp1_phy1_orientation_switch: endpoint@0 {
			reg = <0>;
			remote-endpoint = <&usbc1_orien_sw>;
		};

		usbdp1_phy1_dp1_altmode_mux: endpoint@1 {
			reg = <1>;
			remote-endpoint = <&dp1_altmode_mux>;
		};
	};
};

&vop_mmu {
	status = "okay";
};

&vop {
	status = "okay";
};

&vp0 {
	vp0_out_hdmi0: endpoint@ROCKCHIP_VOP2_EP_HDMI0 {
		reg = <ROCKCHIP_VOP2_EP_HDMI0>;
		remote-endpoint = <&hdmi0_in_vp0>;
	};
};

&vp1 {
	vp1_out_hdmi1: endpoint@ROCKCHIP_VOP2_EP_HDMI1 {
		reg = <ROCKCHIP_VOP2_EP_HDMI1>;
		remote-endpoint = <&hdmi1_in_vp1>;
	};
};
